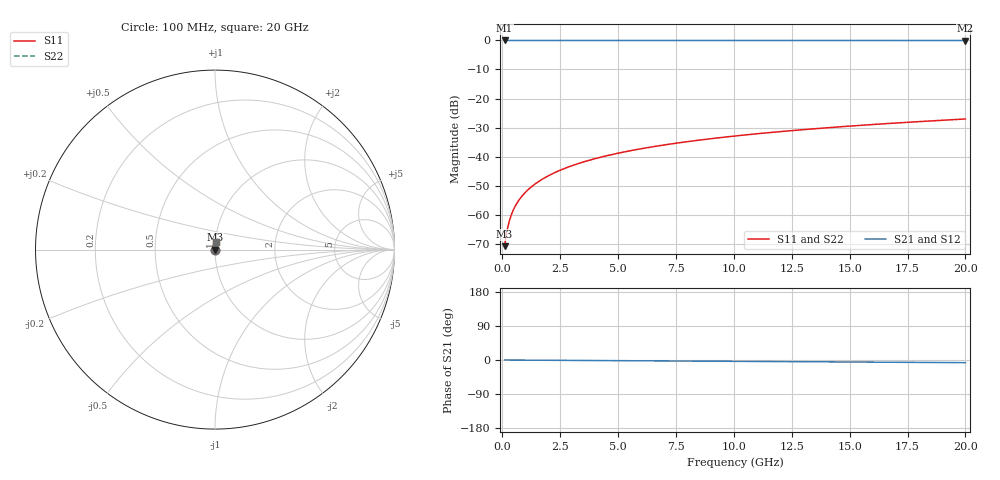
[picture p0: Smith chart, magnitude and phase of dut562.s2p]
! Touchstone file exported from HFSS 2026.1.0
!  File:  C:/ffzhzh/LocalFiles/Ansys_Project_Files/temp_train_TSV_562_1783024514_55676.aedt
!  Generated:  04:37:28 AM Jul  3, 2026
!  Design:  TSV
!  Project:  temp_train_TSV_562_1783024514_55676
! Variables:
!  h_bsmrdl = 2um
!  h_ox = 20um
!  h_rdl = 5um
!  h_sub = 58.78um
!  h_tmrdl = 5um
!  h_tsv = 58.78um
!  h_via = 3um
!  l_bsmrdl = 300um
!  l_sub = 416.7um
!  l_tmrdl = 200um
!  m_sub = 200um
!  pitch = 53.55um
!  r_tsv = 8.35um
!  s_tmrdl = 10um
!  w_bsmrdl = 18um
!  w_sub = 500um
!  w_tmrdl = 12um
!  x_tsv_center1 = 206um
!  x_tsv_center2 = 524um
!  x_tsv_center3 = 736um
!  x_tsv_center4 = 1054um
!  x_tsv_center5 = 1266um
!  x_tsv_center6 = 1584um
# GHz S MA R 50.000000
! Terminal data exported
! Port[1] = TSV1_1_T1
! Port[2] = TSV1_1_T2
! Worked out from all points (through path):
!   200 points, 100 MHz to 20 GHz, reference 50 ohm
!   highest |S21| = 0.00 dB at 100 MHz (marker M1); lowest = 0.0 dB at 20 GHz (marker M2)
!   lowest |S11| = -70.8 dB at 100 MHz (marker M3), VSWR 1.00, Z = 50 + j0.0256 ohm
!   |S11| at or under -10 dB: start of sweep to end of sweep
!   |S22| runs from -70.8 to -27.0 dB; largest |S21 - S12| = 2e-15
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0.1  0.0002872 62.9  0.9999 -0.0  0.9999 -0.0  0.0002872 62.9
! Gamma 0 0 0 0
! Port Impedance 50 0 50 0
0.2  0.0005282 74.7  0.9999 -0.1  0.9999 -0.1  0.0005282 74.7
0.3  0.0007752 78.6  0.9998 -0.1  0.9998 -0.1  0.0007752 78.6
0.4  0.001021 80.4  0.9998 -0.1  0.9998 -0.1  0.001021 80.4
0.5  0.001263 81.4  0.9998 -0.2  0.9998 -0.2  0.001263 81.4
0.6  0.001502 82.1  0.9998 -0.2  0.9998 -0.2  0.001502 82.1
0.7  0.001738 82.5  0.9998 -0.3  0.9998 -0.3  0.001738 82.5
0.8  0.001971 82.9  0.9998 -0.3  0.9998 -0.3  0.001971 82.9
1  0.002432 83.4  0.9997 -0.4  0.9997 -0.4  0.002432 83.4
1.4  0.003343 84.2  0.9997 -0.5  0.9997 -0.5  0.003343 84.2
1.7  0.004023 84.6  0.9997 -0.6  0.9997 -0.6  0.004023 84.6
2  0.004701 84.9  0.9996 -0.7  0.9996 -0.7  0.004701 84.9
2.7  0.006283 85.3  0.9996 -1.0  0.9996 -1.0  0.006283 85.3
3.5  0.008086 85.5  0.9995 -1.2  0.9995 -1.2  0.008086 85.5
4.2  0.009659 85.5  0.9995 -1.5  0.9995 -1.5  0.009659 85.5
5  0.01145 85.5  0.9994 -1.8  0.9994 -1.8  0.01145 85.5
6.8  0.01546 85.2  0.9992 -2.4  0.9992 -2.4  0.01546 85.2
8.3  0.01878 84.9  0.9991 -2.9  0.9991 -2.9  0.01878 84.9
10.1  0.02276 84.5  0.999 -3.6  0.999 -3.6  0.02276 84.5
13.4  0.03002 83.6  0.9987 -4.7  0.9987 -4.7  0.03002 83.6
16.7  0.03724 82.6  0.9983 -5.9  0.9983 -5.9  0.03724 82.6
20  0.04442 81.6  0.9979 -7.0  0.9979 -7.0  0.04442 81.6
